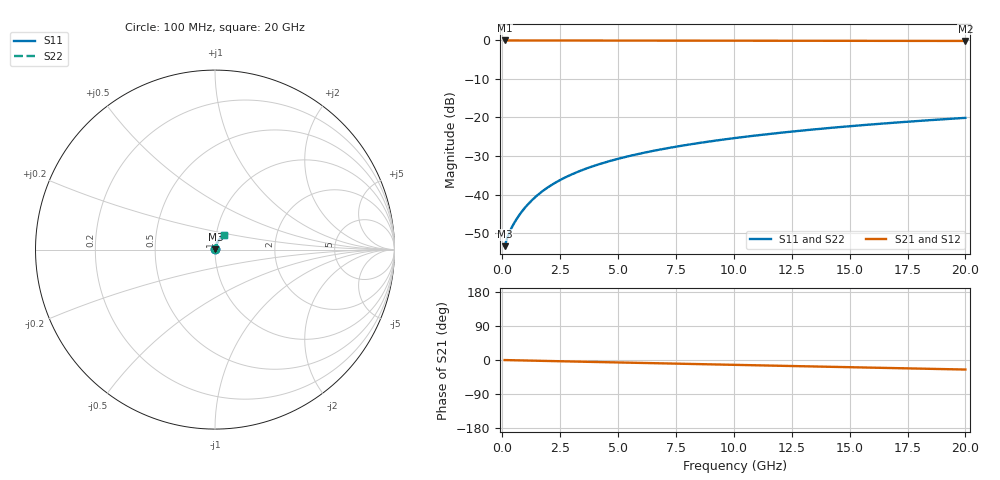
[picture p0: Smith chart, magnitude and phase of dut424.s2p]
! Touchstone file exported from HFSS 2026.1.0
!  File:  C:/ffzhzh/LocalFiles/Ansys_Project_Files/temp_train_TMRDL_424_1783005328_53980.aedt
!  Generated:  11:16:44 PM Jul  2, 2026
!  Design:  TMRDL
!  Project:  temp_train_TMRDL_424_1783005328_53980
! Variables:
!  h_bsmrdl = 2um
!  h_ox = 20um
!  h_rdl = 5um
!  h_sub = 80um
!  h_tmrdl = 4.75um
!  h_tsv = 80um
!  h_via = 3um
!  l_bsmrdl = 300um
!  l_sub = 834.03um
!  l_tmrdl = 434.03um
!  m_sub = 200um
!  pitch = 26.15um
!  r_tsv = 6um
!  s_tmrdl = 10um
!  w_bsmrdl = 18um
!  w_sub = 500um
!  w_tmrdl = 18.21um
!  x_tsv_center1 = 443.135um
!  x_tsv_center2 = 761.135um
!  x_tsv_center3 = 1213.375um
!  x_tsv_center4 = 1531.375um
!  x_tsv_center5 = 1983.615um
!  x_tsv_center6 = 2301.615um
# GHz S MA R 50.000000
! Terminal data exported
! Port[1] = TM_RDL1_1_T1
! Port[2] = TM_RDL1_1_T2
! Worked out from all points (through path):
!   200 points, 100 MHz to 20 GHz, reference 50 ohm
!   highest |S21| = -0.02 dB at 100 MHz (marker M1); lowest = -0.1 dB at 20 GHz (marker M2)
!   group delay of S21, straight-line fit = 3.48 ps
!   lowest |S11| = -53.4 dB at 100 MHz (marker M3), VSWR 1.00, Z = 50.2 + j0.0855 ohm
!   |S11| at or under -10 dB: start of sweep to end of sweep
!   |S22| runs from -53.4 to -20.1 dB; largest |S21 - S12| = 6e-15
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0.1  0.002138 23.5  0.998 -0.1  0.998 -0.1  0.002138 23.5
! Gamma 0 0 0 0
! Port Impedance 50 0 50 0
0.2  0.002662 36.3  0.9979 -0.3  0.9979 -0.3  0.002662 36.3
0.3  0.00319 43.6  0.9977 -0.4  0.9977 -0.4  0.00319 43.6
0.4  0.003696 48.8  0.9976 -0.6  0.9976 -0.6  0.003697 48.8
0.5  0.004199 52.9  0.9975 -0.7  0.9975 -0.7  0.0042 52.9
0.7  0.005233 59.2  0.9973 -0.9  0.9973 -0.9  0.005233 59.2
0.9  0.006311 63.5  0.9972 -1.2  0.9972 -1.2  0.006311 63.5
1.1  0.007422 66.6  0.9972 -1.5  0.9972 -1.5  0.007422 66.6
1.3  0.008555 68.7  0.9971 -1.7  0.9971 -1.7  0.008555 68.7
1.7  0.01085 71.4  0.9969 -2.2  0.9969 -2.2  0.01085 71.4
2.2  0.01373 73.0  0.9965 -2.9  0.9965 -2.9  0.01373 73.0
2.8  0.01714 73.8  0.9961 -3.7  0.9961 -3.7  0.01714 73.8
3.5  0.02104 73.9  0.9956 -4.6  0.9956 -4.6  0.02104 73.9
4.2  0.02485 73.7  0.995 -5.5  0.995 -5.5  0.02485 73.7
5  0.02909 73.1  0.9943 -6.5  0.9943 -6.5  0.02909 73.1
5.9  0.03373 72.4  0.9936 -7.6  0.9936 -7.6  0.03373 72.4
6.8  0.03828 71.6  0.9929 -8.8  0.9929 -8.8  0.03828 71.6
8.3  0.04568 70.3  0.9917 -10.7  0.9917 -10.7  0.04568 70.3
10.1  0.05433 68.6  0.9905 -12.9  0.9905 -12.9  0.05433 68.6
13.4  0.06973 65.3  0.9882 -17.0  0.9882 -17.0  0.06973 65.3
16.7  0.08457 61.9  0.9859 -21.1  0.9859 -21.1  0.08457 61.8
20  0.09882 58.3  0.9837 -25.2  0.9837 -25.2  0.09882 58.3
